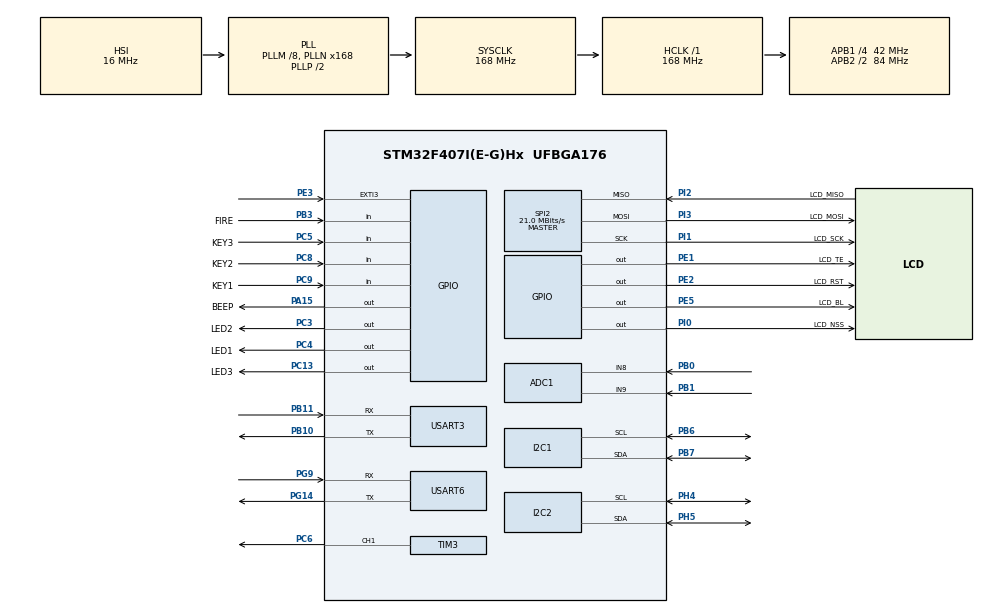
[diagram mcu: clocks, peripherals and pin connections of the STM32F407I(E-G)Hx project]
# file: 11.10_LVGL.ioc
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ADC1.Channel-1\#ChannelRegularConversion=ADC_CHANNEL_8
ADC1.Channel-2\#ChannelRegularConversion=ADC_CHANNEL_9
ADC1.ContinuousConvMode=ENABLE
ADC1.DMAContinuousRequests=ENABLE
ADC1.NbrOfConversion=2
ADC1.NbrOfConversionFlag=1
ADC1.Rank-1\#ChannelRegularConversion=1
ADC1.Rank-2\#ChannelRegularConversion=2
ADC1.SamplingTime-1\#ChannelRegularConversion=ADC_SAMPLETIME_480CYCLES
ADC1.SamplingTime-2\#ChannelRegularConversion=ADC_SAMPLETIME_480CYCLES
ADC1.master=1
Dma.ADC1.0.Direction=DMA_PERIPH_TO_MEMORY
Dma.ADC1.0.FIFOMode=DMA_FIFOMODE_DISABLE
Dma.ADC1.0.Instance=DMA2_Stream0
Dma.ADC1.0.MemDataAlignment=DMA_MDATAALIGN_HALFWORD
Dma.ADC1.0.MemInc=DMA_MINC_ENABLE
Dma.ADC1.0.Mode=DMA_CIRCULAR
Dma.ADC1.0.PeriphDataAlignment=DMA_PDATAALIGN_HALFWORD
Dma.ADC1.0.PeriphInc=DMA_PINC_DISABLE
Dma.ADC1.0.Priority=DMA_PRIORITY_LOW
Dma.Request0=ADC1
FREERTOS.BinarySemaphores01=printfBinarySem01,Dynamic,NULL,Available;myBinarySem02,Dynamic,NULL,Depleted
FREERTOS.Events01=myEvent01,Dynamic,NULL
FREERTOS.Mutexes01=printfMutex01,Dynamic,NULL,Available
FREERTOS.Queues01=Sensor_queue,4,Sensor_Data_t,0,Dynamic,NULL,NULL
FREERTOS.Tasks01=Sensor_sendTask,24,512,Sensor_send,Default,NULL,Dynamic,NULL,NULL;LCD_TASK,24,1024,LCD,Default,NULL,Dynamic,NULL,NULL;Sensor_recvTask,24,512,Sensor_recv,Default,NULL,Dynamic,NULL,NULL;set_eventTask,24,128,set_event,Default,NULL,Dynamic,NULL,NULL;wait_eventTask,24,128,wait_event,Default,NULL,Dynamic,NULL,NULL;WifiTask,24,512,Wifi,Default,NULL,Dynamic,NULL,NULL;WWDG_Task,32,128,feed_dogTask,Default,NULL,Dynamic,NULL,NULL
FREERTOS.Timers01=WifiTimer,Report_Callback,osTimerPeriodic,Default,NULL,Dynamic,NULL;KeyTimer,KeyTimer_Callback,osTimerPeriodic,Default,NULL,Dynamic,NULL
FREERTOS.configTIMER_TASK_PRIORITY=25
FREERTOS.configTOTAL_HEAP_SIZE=32768
FREERTOS.configUSE_TICK_HOOK=1
I2C2.I2C_Mode=I2C_Fast
Mcu.Family=STM32F4
Mcu.Name=STM32F407I(E-G)Hx
Mcu.Package=UFBGA176
NVIC.DMA2_Stream0_IRQn=true\:5\:0\:false\:false\:true\:true\:false\:true\:true
NVIC.EXTI3_IRQn=true\:5\:0\:false\:false\:true\:true\:true\:true\:true
NVIC.I2C1_ER_IRQn=true\:5\:0\:false\:false\:true\:true\:true\:true\:true
NVIC.I2C1_EV_IRQn=true\:5\:0\:false\:false\:true\:true\:true\:true\:true
NVIC.PriorityGroup=NVIC_PRIORITYGROUP_4
NVIC.TIM2_IRQn=true\:15\:0\:false\:false\:true\:false\:false\:true\:true
NVIC.TIM3_IRQn=true\:5\:0\:false\:false\:true\:true\:true\:true\:true
NVIC.TimeBase=TIM2_IRQn
NVIC.TimeBaseIP=TIM2
NVIC.USART3_IRQn=true\:5\:0\:false\:false\:true\:true\:true\:true\:true
NVIC.WWDG_IRQn=true\:5\:0\:false\:false\:true\:true\:true\:true\:true
PA13.Mode=Serial_Wire
PA13.Signal=SYS_JTMS-SWDIO
PA14.Mode=Serial_Wire
PA14.Signal=SYS_JTCK-SWCLK
PA15.GPIO_Label=BEEP
PA15.Signal=GPIO_Output
PB0.Signal=ADCx_IN8
PB1.Signal=ADCx_IN9
PB10.Mode=Asynchronous
PB10.Signal=USART3_TX
PB11.Mode=Asynchronous
PB11.Signal=USART3_RX
PB3.GPIO_Label=FIRE
PB3.Signal=GPIO_Input
PB6.Mode=I2C
PB6.Signal=I2C1_SCL
PB7.Mode=I2C
PB7.Signal=I2C1_SDA
PC13-ANTI_TAMP.GPIO_Label=LED3
PC13-ANTI_TAMP.Signal=GPIO_Output
PC3.GPIO_Label=LED2
PC3.Signal=GPIO_Output
PC4.GPIO_Label=LED1
PC4.Signal=GPIO_Output
PC5.GPIO_Label=KEY3
PC5.Signal=GPIO_Input
PC6.Signal=S_TIM3_CH1
PC8.GPIO_Label=KEY2
PC8.Signal=GPIO_Input
PC9.GPIO_Label=KEY1
PC9.Signal=GPIO_Input
PE1.GPIO_Label=LCD_TE
PE1.Signal=GPIO_Output
PE2.GPIO_Label=LCD_RST
PE2.GPIO_Speed=GPIO_SPEED_FREQ_VERY_HIGH
PE2.PinState=GPIO_PIN_SET
PE2.Signal=GPIO_Output
PE3.Signal=GPXTI3
PE5.GPIO_Label=LCD_BL
PE5.GPIO_Speed=GPIO_SPEED_FREQ_LOW
PE5.PinState=GPIO_PIN_SET
PE5.Signal=GPIO_Output
PG14.Mode=Asynchronous
PG14.Signal=USART6_TX
PG9.Mode=Asynchronous
PG9.Signal=USART6_RX
PH4.Mode=I2C
PH4.Signal=I2C2_SCL
PH5.Mode=I2C
PH5.Signal=I2C2_SDA
PI0.GPIO_Label=LCD_NSS
PI0.GPIO_Speed=GPIO_SPEED_FREQ_VERY_HIGH
PI0.PinState=GPIO_PIN_SET
PI0.Signal=GPIO_Output
PI1.GPIO_Label=LCD_SCK
PI1.Mode=Full_Duplex_Master
PI1.Signal=SPI2_SCK
PI2.GPIO_Label=LCD_MISO
PI2.Mode=Full_Duplex_Master
PI2.Signal=SPI2_MISO
PI3.GPIO_Label=LCD_MOSI
PI3.Mode=Full_Duplex_Master
PI3.Signal=SPI2_MOSI
ProjectManager.HeapSize=0x200
ProjectManager.StackSize=0x800
ProjectManager.TargetToolchain=MDK-ARM V5.32
RCC.48MHZClocksFreq_Value=84000000
RCC.AHBFreq_Value=168000000
RCC.APB1CLKDivider=RCC_HCLK_DIV4
RCC.APB1Freq_Value=42000000
RCC.APB1TimFreq_Value=84000000
RCC.APB2CLKDivider=RCC_HCLK_DIV2
RCC.APB2Freq_Value=84000000
RCC.APB2TimFreq_Value=168000000
RCC.CortexFreq_Value=168000000
RCC.HCLKFreq_Value=168000000
RCC.HSE_VALUE=25000000
RCC.HSI_VALUE=16000000
RCC.LSE_VALUE=32768
RCC.PLLM=8
RCC.PLLN=168
RCC.SYSCLKFreq_VALUE=168000000
RCC.SYSCLKSource=RCC_SYSCLKSOURCE_PLLCLK
RCC.VCOOutputFreq_Value=336000000
SH.ADCx_IN8.0=ADC1_IN8,IN8
SH.ADCx_IN9.0=ADC1_IN9,IN9
SH.S_TIM3_CH1.0=TIM3_CH1,PWM Generation1 CH1
SPI2.CalculateBaudRate=21.0 MBits/s
SPI2.Direction=SPI_DIRECTION_2LINES
SPI2.Mode=SPI_MODE_MASTER
SPI2.VirtualType=VM_MASTER
TIM3.Channel-PWM\ Generation1\ CH1=TIM_CHANNEL_1
TIM3.Period=99
TIM3.Prescaler=839
USART3.VirtualMode=VM_ASYNC
USART6.VirtualMode=VM_ASYNC
VP_FREERTOS_VS_CMSIS_V2.Mode=CMSIS_V2
VP_SYS_VS_tim2.Mode=TIM2
VP_TIM3_VS_ClockSourceINT.Mode=Internal
VP_WWDG_VS_WWDG.Mode=WWDG_Activate
WWDG.Counter=127
WWDG.Prescaler=WWDG_PRESCALER_8
WWDG.Window=96
board=custom

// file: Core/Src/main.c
/* USER CODE BEGIN Header */
/**
  ******************************************************************************
  * @file           : main.c
  * @brief          : Main program body
  ******************************************************************************
  * @attention
  *
  * Copyright (c) 2026 STMicroelectronics.
  * All rights reserved.
  *
  * This software is licensed under terms that can be found in the LICENSE file
  * in the root directory of this software component.
  * If no LICENSE file comes with this software, it is provided AS-IS.
  *
  ******************************************************************************
  */
/* USER CODE END Header */
#include "main.h"
#include "cmsis_os.h"
#include "adc.h"
#include "dma.h"
#include "i2c.h"
#include "spi.h"
#include "tim.h"
#include "usart.h"
#include "wwdg.h"
#include "gpio.h"

/* USER CODE BEGIN Includes */
#include "bsp_ft6336.h"
#include "bsp_ili9341_4line.h"

#include "lvgl.h"
#include "lv_port_disp.h"
#include "lv_port_indev.h"

#include "stdio.h"
/* USER CODE END Includes */

void SystemClock_Config(void);
void MX_FREERTOS_Init(void);

int main(void)
{

  /* MCU Configuration--------------------------------------------------------*/

  /* Reset of all peripherals, Initializes the Flash interface and the Systick. */
  HAL_Init();

  /* Configure the system clock */
  SystemClock_Config();

  /* Initialize all configured peripherals */
  MX_GPIO_Init();
  MX_DMA_Init();
  MX_I2C1_Init();
  MX_I2C2_Init();
  MX_SPI2_Init();
  MX_USART6_UART_Init();
  MX_USART3_UART_Init();
  MX_ADC1_Init();
  MX_TIM3_Init();
  MX_WWDG_Init();
  /* USER CODE BEGIN 2 */
	/* PWM 频率 10kHz -> 1kHz：PSC 83 -> 839（84MHz/840 = 100kHz，ARR=99 → 1kHz）
	   高频斩波时电机电感把电流抹平了，低速启动力矩不够；低频每个脉冲更"实"。
	   ARR 没动，所以 CCR 仍然 0~99 = 百分比，FAN_SetSpeed 不用改。
	   想还原 10kHz 就把 839 改回 83。 */
	HAL_TIM_PWM_Start(&htim3, TIM_CHANNEL_1);   /* 只启动一次 */

  /* USER CODE END 2 */

  /* Init scheduler */
  osKernelInitialize();  /* Call init function for freertos objects (in cmsis_os2.c) */
  MX_FREERTOS_Init();

  /* Start scheduler */
  osKernelStart();

  /* We should never get here as control is now taken by the scheduler */

  /* Infinite loop */
  while (1)
  {

  }
}

void SystemClock_Config(void)
{
  RCC_OscInitTypeDef RCC_OscInitStruct = {0};
  RCC_ClkInitTypeDef RCC_ClkInitStruct = {0};

  /** Configure the main internal regulator output voltage
  */
  __HAL_RCC_PWR_CLK_ENABLE();
  __HAL_PWR_VOLTAGESCALING_CONFIG(PWR_REGULATOR_VOLTAGE_SCALE1);

  /** Initializes the RCC Oscillators according to the specified parameters
  * in the RCC_OscInitTypeDef structure.
  */
  RCC_OscInitStruct.OscillatorType = RCC_OSCILLATORTYPE_HSI;
  RCC_OscInitStruct.HSIState = RCC_HSI_ON;
  RCC_OscInitStruct.HSICalibrationValue = RCC_HSICALIBRATION_DEFAULT;
  RCC_OscInitStruct.PLL.PLLState = RCC_PLL_ON;
  RCC_OscInitStruct.PLL.PLLSource = RCC_PLLSOURCE_HSI;
  RCC_OscInitStruct.PLL.PLLM = 8;
  RCC_OscInitStruct.PLL.PLLN = 168;
  RCC_OscInitStruct.PLL.PLLP = RCC_PLLP_DIV2;
  RCC_OscInitStruct.PLL.PLLQ = 4;
  if (HAL_RCC_OscConfig(&RCC_OscInitStruct) != HAL_OK)
  {
    Error_Handler();
  }

  /** Initializes the CPU, AHB and APB buses clocks
  */
  RCC_ClkInitStruct.ClockType = RCC_CLOCKTYPE_HCLK|RCC_CLOCKTYPE_SYSCLK
                              |RCC_CLOCKTYPE_PCLK1|RCC_CLOCKTYPE_PCLK2;
  RCC_ClkInitStruct.SYSCLKSource = RCC_SYSCLKSOURCE_PLLCLK;
  RCC_ClkInitStruct.AHBCLKDivider = RCC_SYSCLK_DIV1;
  RCC_ClkInitStruct.APB1CLKDivider = RCC_HCLK_DIV4;
  RCC_ClkInitStruct.APB2CLKDivider = RCC_HCLK_DIV2;

  if (HAL_RCC_ClockConfig(&RCC_ClkInitStruct, FLASH_LATENCY_5) != HAL_OK)
  {
    Error_Handler();
  }
}

void HAL_TIM_PeriodElapsedCallback(TIM_HandleTypeDef *htim)
{
  if (htim->Instance == TIM2)
  {
    HAL_IncTick();
  }
}

void Error_Handler(void)
{
  __disable_irq();
  while (1)
  {
  }
}

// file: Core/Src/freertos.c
/* USER CODE BEGIN Header */
/**
  ******************************************************************************
  * File Name          : freertos.c
  * Description        : Code for freertos applications
  ******************************************************************************
  * @attention
  *
  * Copyright (c) 2026 STMicroelectronics.
  * All rights reserved.
  *
  * This software is licensed under terms that can be found in the LICENSE file
  * in the root directory of this software component.
  * If no LICENSE file comes with this software, it is provided AS-IS.
  *
  ******************************************************************************
  */
/* USER CODE END Header */

#include "FreeRTOS.h"
#include "task.h"
#include "main.h"
#include "cmsis_os.h"

/* USER CODE BEGIN Includes */
#include "usart.h"
#include "bsp_ft6336.h"
#include "bsp_ili9341_4line.h"

#include "lvgl.h"
#include "lv_port_disp.h"
#include "lv_port_indev.h"

#include "stdio.h"

#include "ui.h"
#include "stdarg.h"
#include "string.h"
#include "task_state.h"
#include "sensor.h"
#include "key.h"
#include "alarm_log.h"
#include "alarm.h"
#include "wifi.h"
#include "ui_bind.h"
#include "wwdg.h"
/* USER CODE END Includes */

/* USER CODE BEGIN PTD */

/* 全局变量已经按功能拆到各自的模块里，这里不再放：
 *    sys_state / alarm_enable  ->  task_state.c（声明在 task_state.h）
 *    USART3_RxBuff             ->  usart.c（声明在 usart.h）
 *    Uart_Printf()             ->  usart.c（声明在 usart.h） */

/* USER CODE END PTD */

/* USER CODE BEGIN PD */

/* printf / scanf 的重定向（fputc / fgetc）也在 usart.c 里，
   因为它们是"把 stdio 接到哪个串口"的事，属于串口模块。 */

/* USER CODE END PD */

/* USER CODE BEGIN Variables */

#define WDOG_FEED_MS      30u   /* 喂狗周期，落在 24.2~49.9ms 窗口中间 */

/* USER CODE END Variables */
/* Definitions for Sensor_sendTask */
osThreadId_t Sensor_sendTaskHandle;
const osThreadAttr_t Sensor_sendTask_attributes = {
  .name = "Sensor_sendTask",
  .stack_size = 512 * 4,
  .priority = (osPriority_t) osPriorityNormal,
};
/* Definitions for LCD_TASK */
osThreadId_t LCD_TASKHandle;
const osThreadAttr_t LCD_TASK_attributes = {
  .name = "LCD_TASK",
  .stack_size = 1024 * 4,
  .priority = (osPriority_t) osPriorityNormal,
};
/* Definitions for Sensor_recvTask */
osThreadId_t Sensor_recvTaskHandle;
const osThreadAttr_t Sensor_recvTask_attributes = {
  .name = "Sensor_recvTask",
  .stack_size = 512 * 4,
  .priority = (osPriority_t) osPriorityNormal,
};
/* Definitions for set_eventTask */
osThreadId_t set_eventTaskHandle;
const osThreadAttr_t set_eventTask_attributes = {
  .name = "set_eventTask",
  .stack_size = 128 * 4,
  .priority = (osPriority_t) osPriorityNormal,
};
/* Definitions for wait_eventTask */
osThreadId_t wait_eventTaskHandle;
const osThreadAttr_t wait_eventTask_attributes = {
  .name = "wait_eventTask",
  .stack_size = 128 * 4,
  .priority = (osPriority_t) osPriorityNormal,
};
/* Definitions for WifiTask */
osThreadId_t WifiTaskHandle;
const osThreadAttr_t WifiTask_attributes = {
  .name = "WifiTask",
  .stack_size = 512 * 4,
  .priority = (osPriority_t) osPriorityNormal,
};
/* Definitions for WWDG_Task */
osThreadId_t WWDG_TaskHandle;
const osThreadAttr_t WWDG_Task_attributes = {
  .name = "WWDG_Task",
  .stack_size = 128 * 4,
  .priority = (osPriority_t) osPriorityAboveNormal,
};
/* Definitions for Sensor_queue */
osMessageQueueId_t Sensor_queueHandle;
const osMessageQueueAttr_t Sensor_queue_attributes = {
  .name = "Sensor_queue"
};
/* Definitions for WifiTimer */
osTimerId_t WifiTimerHandle;
const osTimerAttr_t WifiTimer_attributes = {
  .name = "WifiTimer"
};
/* Definitions for KeyTimer */
osTimerId_t KeyTimerHandle;
const osTimerAttr_t KeyTimer_attributes = {
  .name = "KeyTimer"
};
/* Definitions for printfMutex01 */
osMutexId_t printfMutex01Handle;
const osMutexAttr_t printfMutex01_attributes = {
  .name = "printfMutex01"
};
/* Definitions for printfBinarySem01 */
osSemaphoreId_t printfBinarySem01Handle;
const osSemaphoreAttr_t printfBinarySem01_attributes = {
  .name = "printfBinarySem01"
};
/* Definitions for myBinarySem02 */
osSemaphoreId_t myBinarySem02Handle;
const osSemaphoreAttr_t myBinarySem02_attributes = {
  .name = "myBinarySem02"
};
/* Definitions for myEvent01 */
osEventFlagsId_t myEvent01Handle;
const osEventFlagsAttr_t myEvent01_attributes = {
  .name = "myEvent01"
};

void Sensor_send(void *argument);
void LCD(void *argument);
void Sensor_recv(void *argument);
void set_event(void *argument);
void wait_event(void *argument);
void Wifi(void *argument);
void feed_dogTask(void *argument);
void Report_Callback(void *argument);
void KeyTimer_Callback(void *argument);

void MX_FREERTOS_Init(void); /* (MISRA C 2004 rule 8.1) */

/* Hook prototypes */
void vApplicationTickHook(void);

/* USER CODE BEGIN 3 */
void vApplicationTickHook( void )
{
   /* This function will be called by each tick interrupt if
   configUSE_TICK_HOOK is set to 1 in FreeRTOSConfig.h. User code can be
   added here, but the tick hook is called from an interrupt context, so
   code must not attempt to block, and only the interrupt safe FreeRTOS API
   functions can be used (those that end in FromISR()). */
	 lv_tick_inc(1);
}

//解析云端指令（具体处理都在 wifi.c 里，这里只做转发）
void ParseCommand(char *line)
{
    if (line == NULL) return;
    Wifi_HandleCommand(line);
}
/* USER CODE END 3 */

void MX_FREERTOS_Init(void) {
  /* Create the mutex(es) */
  /* creation of printfMutex01 */
  printfMutex01Handle = osMutexNew(&printfMutex01_attributes);

  /* Create the semaphores(s) */
  /* creation of printfBinarySem01 */
  printfBinarySem01Handle = osSemaphoreNew(1, 1, &printfBinarySem01_attributes);

  /* creation of myBinarySem02 */
  myBinarySem02Handle = osSemaphoreNew(1, 0, &myBinarySem02_attributes);

  /* Create the timer(s) */
  /* creation of WifiTimer */
  WifiTimerHandle = osTimerNew(Report_Callback, osTimerPeriodic, NULL, &WifiTimer_attributes);

  /* creation of KeyTimer */
  KeyTimerHandle = osTimerNew(KeyTimer_Callback, osTimerPeriodic, NULL, &KeyTimer_attributes);

  /* Create the queue(s) */
  /* creation of Sensor_queue */
  Sensor_queueHandle = osMessageQueueNew (4, sizeof(Sensor_Data_t), &Sensor_queue_attributes);

  /* Create the thread(s) */
  /* creation of Sensor_sendTask */
  Sensor_sendTaskHandle = osThreadNew(Sensor_send, NULL, &Sensor_sendTask_attributes);

  /* creation of LCD_TASK */
  LCD_TASKHandle = osThreadNew(LCD, NULL, &LCD_TASK_attributes);

  /* creation of Sensor_recvTask */
  Sensor_recvTaskHandle = osThreadNew(Sensor_recv, NULL, &Sensor_recvTask_attributes);

  /* creation of set_eventTask */
  set_eventTaskHandle = osThreadNew(set_event, NULL, &set_eventTask_attributes);

  /* creation of wait_eventTask */
  wait_eventTaskHandle = osThreadNew(wait_event, NULL, &wait_eventTask_attributes);

  /* creation of WifiTask */
  WifiTaskHandle = osThreadNew(Wifi, NULL, &WifiTask_attributes);

  /* creation of WWDG_Task */
  WWDG_TaskHandle = osThreadNew(feed_dogTask, NULL, &WWDG_Task_attributes);

  /* creation of myEvent01 */
  myEvent01Handle = osEventFlagsNew(&myEvent01_attributes);

}

void Sensor_send(void *argument)
{
  /* USER CODE BEGIN Sensor_send */
	//先延时20ms防止als环境光采集寄存器使能失败
	osDelay(20);
	ALS_ENABLE();
	Sensor_Data_t Sensor_send_msg;
	osStatus_t status;
	uint32_t count;
	uint32_t space;
	// 启动 ADC + DMA，只需要启动一次
   A_V_DMA_Start();
  /* Infinite loop */
  for(;;)
  {
		Sht20Task();
		if(Sht20_DataReady == 1)
		{
			Sht20_DataReady = 0;
			// 获取 ADC 数据并转换
			A_V_datacollect();
			Sensor_send_msg.temperature = Tem_value;
			Sensor_send_msg.humidity = Hum_value;
			Sensor_send_msg.light = Als_value;
			Sensor_send_msg.voltage = test_V;
			Sensor_send_msg.current = test_A;

			/*  首次释放会把阻塞在 osSemaphoreAcquire 的 set_event 唤醒，
			   之后它不再取，这个信号量就一直留 1。 */
			osSemaphoreRelease(myBinarySem02Handle);

			//使用0表示队列满了就立即返回，不等待。
			status = osMessageQueuePut(Sensor_queueHandle,&Sensor_send_msg,NULL,0);
			if(status == osOK)	//队列还有空间
			{
				//获取当前消息数量
        count = osMessageQueueGetCount(Sensor_queueHandle);
				//获取剩余空闲位置
        space = osMessageQueueGetSpace(Sensor_queueHandle);

					Uart_Printf("Queue Count:%lu Space:%lu\r\n",
								 (unsigned long)count,
								 (unsigned long)space);
			}
			else
			{
					Uart_Printf("Sensor Queue Send Failed!\r\n");
			}
    }
		osDelay(120);
  }
  /* USER CODE END Sensor_send */
}

void LCD(void *argument)
{
  /* USER CODE BEGIN LCD */
  /* Infinite loop */
	ILI9341_Init();
	FT6336_init();

	lv_init();
	lv_port_disp_init();
	lv_port_indev_init();

	ui_init();
	Ui_Bind_Init();
	Wifi_Ui_Init();     /* WiFi 页的账号输入 + 主页网络图标 */
  for(;;)
  {
		Ui_Task();
    osDelay(5);
  }
  /* USER CODE END LCD */
}

void Sensor_recv(void *argument)
{
  /* USER CODE BEGIN Sensor_recv */
	Sensor_Data_t Sensor_recv_msg;
	osStatus_t status;
  /* Infinite loop */
   for(;;)
    {
				//接收消息队列osWaitForever 表示：如果消息队列中没有消息，当前任务就一直阻塞等待，直到有消息到来
        status = osMessageQueueGet(Sensor_queueHandle,&Sensor_recv_msg,NULL,osWaitForever);

        if(status == osOK)
        {
            Uart_Printf("Tem: %.2f C | Hum: %.2f %% | Light: %.2f | Voltage: %.2f V | Current: %.2f A\r\n",
                   Sensor_recv_msg.temperature,
                   Sensor_recv_msg.humidity,
                   Sensor_recv_msg.light,
                   Sensor_recv_msg.voltage,
                   Sensor_recv_msg.current);
        }
        else
        {
            Uart_Printf("Queue Receive Failed! status=%d\r\n", status);
        }
    }
  /* USER CODE END Sensor_recv */
}

void set_event(void *argument)
{
  /* USER CODE BEGIN set_event */
  uint32_t t0 = osKernelGetTickCount();
  osStatus_t ready;

  /* 阻塞等"首帧数据采完"这个事件，由 Sensor_send 采集完成后 osSemaphoreRelease 唤醒 */
  ready = osSemaphoreAcquire(myBinarySem02Handle, 5000U);

  if (ready == osOK)
    Uart_Printf("[EVT] sensor ready in %lu ms\r\n", (unsigned long)(osKernelGetTickCount() - t0));
  else
    Uart_Printf("[EVT] sensor NOT ready in 5s, run anyway\r\n");

  /* Infinite loop */
  for(;;)
  {
		//设置对应事件
		Evt_UpdateFromSensors();
		AlarmLog_Task();   /* 报警历史边沿检测（和判报警放同一个任务，取样时刻一致） */
    osDelay(10);
  }
  /* USER CODE END set_event */
}

void wait_event(void *argument)
{
  /* USER CODE BEGIN wait_event */
    uint32_t flags;
    sys_state_t state;
		uint16_t cnt = 0;        // 数数用，0~49 循环
		osTimerStart(KeyTimerHandle, 10);	//启动定时器按键扫描
    Uart_Printf("[TASK] EventTask started\r\n");
    /* Infinite loop */
    for(;;)
    {
        fire_alarm();    /* 每 10ms 轮询火焰，更新 EVT_FIRE */

        flags = osEventFlagsGet(myEvent01Handle);   /* 直接读状态 */

        /* ===== 事件组 → 三态裁决 ===== */
        if (flags & (EVT_FIRE | EVT_ELEC))		//火焰或者电压电流异常
            state = SYS_ALARM;
        else if (flags & (EVT_TEMP | EVT_HUMI))	//温湿度异常
            state = SYS_WARN;
        else
            state = SYS_NORMAL;		//正常状态

        /* ===== 按三态输出 ===== */
        switch (state)
        {
        case SYS_NORMAL:	//正常状态
            LED1_OFF();
						LED2_OFF();
						LED3_OFF();
						BEEP_OFF();
            break;

        case SYS_WARN:		/* WARN：LED1+风扇 */
            LED1_ON();
            LED2_OFF();
						LED3_OFF();
						BEEP_OFF();
            break;

        case SYS_ALARM:		/* ALARM：LED2+LED3+蜂鸣器（除非静音） */
            LED2_ON();
						LED3_ON();
            LED1_OFF();
            if (flags & EVT_MUTED)
						{
								BEEP_OFF();
								cnt = 0;                    // 静音时归零,防止干扰下次响的频率
						}
						else
						{
								cnt++;                      // 每轮 10ms 数一下
								if (cnt >= 50) cnt = 0;     // 数到 50 回到 0

								if (cnt < 20)  BEEP_ON();   // 前 20 次响
								else           BEEP_OFF();  // 后 30 次停
						}
						break;
        }

        sys_state = state;   /* 存全局，供 UI / 串口读 */
        FAN_Update();        /* 风扇统一在这里输出：手动跟滑块，自动跟状态 */
        osDelay(10);
    }
  /* USER CODE END wait_event */
}

void Wifi(void *argument)
{
  /* USER CODE BEGIN Wifi */
  /* 联网流程全部在 wifi.c 的 Wifi_Task() 里：
     状态机、每步超时+重试、2s 上报、+IPD 指令解析。
     这里只管调它，它自己会阻塞等串口数据，不占 CPU。 */
  for(;;)
  {
    Wifi_Task();
  }
  /* USER CODE END Wifi */
}

void feed_dogTask(void *argument)
{
  /* USER CODE BEGIN feed_dogTask */
  /* 第一口必须等过窗口下沿 24.2ms，0~24.2ms 之内刷新会被判"喂太早"直接复位,WDOG_FEED_MS为30ms */
  osDelay(WDOG_FEED_MS);

  for(;;)
  {
    HAL_WWDG_Refresh(&hwwdg);
    osDelay(WDOG_FEED_MS);
  }
  /* USER CODE END feed_dogTask */
}

/* Report_Callback function */
void Report_Callback(void *argument)
{
  /* USER CODE BEGIN Report_Callback */
  /* 2s 软件定时器回调：只举一下手，真正的 AT+CIPSEND 由 WifiTask 去做。
     定时器回调跑在定时器任务里，不能在这里发串口 —— 会和状态机抢 UART3。 */
  (void)argument;
  Wifi_OnReportTimer();
  /* USER CODE END Report_Callback */
}

/* KeyTimer_Callback function */
void KeyTimer_Callback(void *argument)
{
  /* USER CODE BEGIN KeyTimer_Callback */
		Key_Scan(); //按键状态扫描
  /* USER CODE END KeyTimer_Callback */
}

/* USER CODE BEGIN Application */

/* Uart_Printf() 已经搬到 usart.c（串口打印归串口模块），
   声明在 usart.h，这里直接用就行。 */

/* USER CODE END Application */
